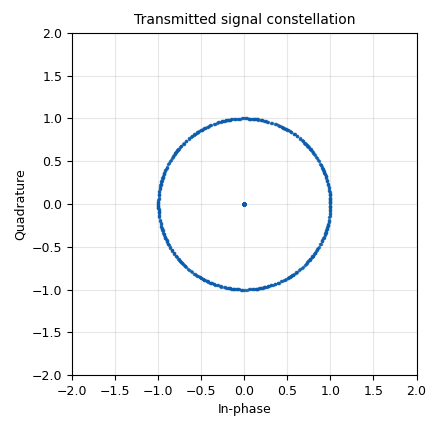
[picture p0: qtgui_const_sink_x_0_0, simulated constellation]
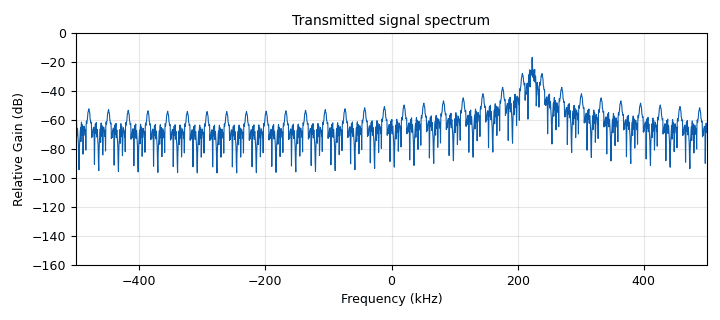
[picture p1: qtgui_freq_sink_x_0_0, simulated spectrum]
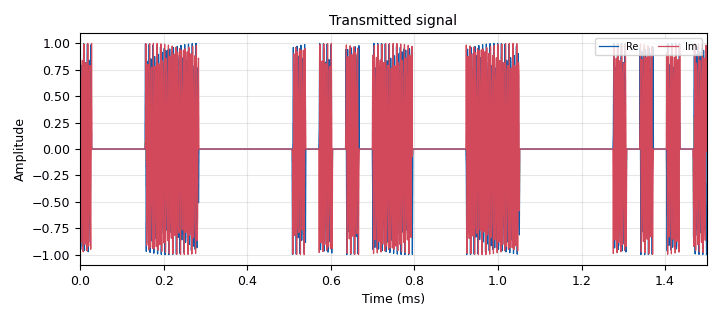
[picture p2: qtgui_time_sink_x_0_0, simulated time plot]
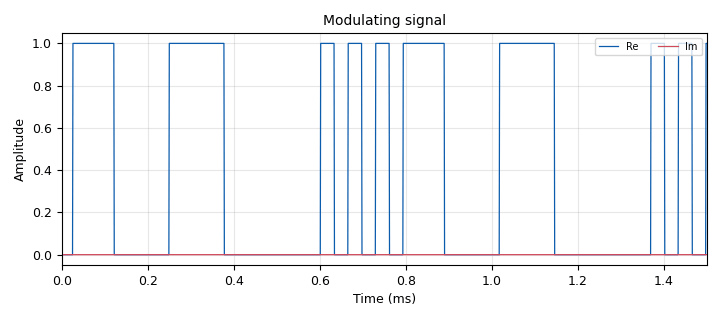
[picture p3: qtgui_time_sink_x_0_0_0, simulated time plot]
options:
  parameters:
    generate_options: qt_gui
    id: OOK_Tx_simulator
    output_language: python
    title: Simulate OOK transmission
  states: {}

blocks:
- name: freq
  id: variable_qtgui_range
  parameters:
    gui_hint: 0,0,1,2
    start: 1e3
    step: 1e3
    stop: 500e3
    value: 223e3
  states: {}
- name: samp_rate
  id: variable
  parameters:
    value: 1e6
  states: {}
- name: samps_per_sym
  id: variable
  parameters:
    value: '32'
  states: {}
- name: analog_sig_source_x_0
  id: analog_sig_source_x
  parameters:
    amp: '1'
    freq: freq
    offset: '0'
    phase: '0'
    samp_rate: samp_rate
    type: complex
    waveform: analog.GR_COS_WAVE
  states: {}
- name: blocks_multiply_xx_0
  id: blocks_multiply_xx
  parameters:
    type: complex
  states: {}
- name: blocks_repeat_0
  id: blocks_repeat
  parameters:
    interp: samps_per_sym
    type: complex
  states: {}
- name: blocks_throttle_0
  id: blocks_throttle
  parameters:
    samples_per_second: samp_rate
    type: complex
  states: {}
- name: blocks_vector_source_x_0
  id: blocks_vector_source_x
  parameters:
    repeat: 'True'
    type: complex
    vector: (0, 1, 0, 1, 0, 1, 0, 1, 1, 1, 0, 0, 0, 0, 1, 1, 1, 1, 0, 0, 0, 0, 0, 0)
  states: {}
- name: qtgui_const_sink_x_0_0
  id: qtgui_const_sink_x
  parameters:
    gui_hint: 4,0,1,2
    name: '"Transmitted signal constellation"'
    size: '1024'
    type: complex
  states: {}
- name: qtgui_freq_sink_x_0_0
  id: qtgui_freq_sink_x
  parameters:
    bw: samp_rate
    fc: '0'
    fftsize: '2048'
    gui_hint: 3,0,1,2
    name: '"Transmitted signal spectrum"'
    type: complex
    ymax: '0'
    ymin: '-160'
  states: {}
- name: qtgui_time_sink_x_0_0
  id: qtgui_time_sink_x
  parameters:
    autoscale: 'True'
    gui_hint: 2,0,1,2
    label1: Re
    label2: Im
    name: '"Transmitted signal"'
    size: '1500'
    srate: samp_rate
    tr_delay: '25e-6'
    tr_level: '0.5'
    tr_mode: qtgui.TRIG_MODE_NORM
    type: complex
  states: {}
- name: qtgui_time_sink_x_0_0_0
  id: qtgui_time_sink_x
  parameters:
    autoscale: 'True'
    gui_hint: 1,0,1,2
    label1: Re
    label2: Im
    name: '"Modulating signal"'
    size: '1500'
    srate: samp_rate
    tr_delay: '25e-6'
    tr_level: '0.5'
    tr_mode: qtgui.TRIG_MODE_NORM
    type: complex
  states: {}

connections:
- [analog_sig_source_x_0, '0', blocks_multiply_xx_0, '1']
- [analog_sig_source_x_0, '0', blocks_throttle_0, '0']
- [blocks_multiply_xx_0, '0', qtgui_const_sink_x_0_0, '0']
- [blocks_multiply_xx_0, '0', qtgui_freq_sink_x_0_0, '0']
- [blocks_multiply_xx_0, '0', qtgui_time_sink_x_0_0, '0']
- [blocks_repeat_0, '0', blocks_multiply_xx_0, '0']
- [blocks_repeat_0, '0', qtgui_time_sink_x_0_0_0, '0']
- [blocks_vector_source_x_0, '0', blocks_repeat_0, '0']

metadata:
  file_format: 1
